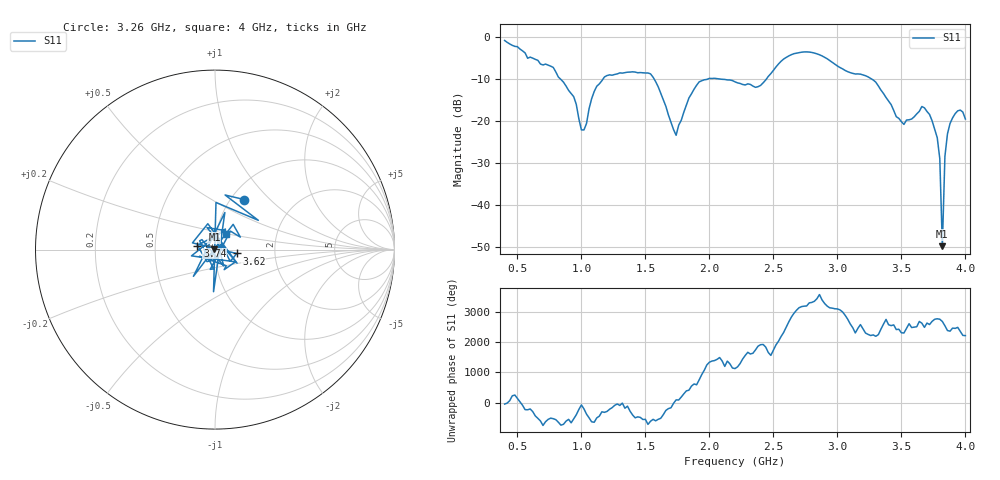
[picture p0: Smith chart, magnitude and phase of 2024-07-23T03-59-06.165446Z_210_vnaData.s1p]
!Created with skrf (http://scikit-rf.org).
# Hz S RI R 50.0
!freq ReS11 ImS11
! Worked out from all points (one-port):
!   181 points, 400 MHz to 4 GHz, reference 50 ohm
!   lowest |S11| = -49.8 dB at 3.82 GHz (marker M1), VSWR 1.01, Z = 49.7 + j0.0944 ohm
!   |S11| at or under -10 dB: 1.569 GHz to 1.985 GHz (415.8 MHz wide, 23.4 % of centre); 2.091 GHz to 2.444 GHz (353.7 MHz wide, 15.6 % of centre); 3.27 GHz to end of sweep (the widest 3 of 4)
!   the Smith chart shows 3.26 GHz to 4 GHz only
!   S11 on the Smith chart (normalised r, x): 3.26 GHz: 1.15, +0.72; 3.62 GHz: 1.27, -0.06; 3.74 GHz: 0.82, +0.04; 4 GHz: 1.11, +0.20
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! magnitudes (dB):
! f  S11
! 400 MHz  -0.8
! 860 MHz  -10.7
! 940 MHz  -14.2
! 1 GHz  -22.1
! 1.02 GHz  -22.1
! 1.12 GHz  -11.7
! 1.3 GHz  -8.5
! 1.54 GHz  -8.7
! 1.74 GHz  -23.4
! 1.76 GHz  -21.0
! 1.92 GHz  -10.6
! 2.2 GHz  -10.6
! 2.38 GHz  -11.8
! 2.66 GHz  -3.9
! 3.1 GHz  -8.4
! 3.26 GHz  -9.8
! 3.46 GHz  -18.9
! 3.56 GHz  -19.7
! 3.62 GHz  -18.3
! 3.66 GHz  -16.5
! 3.74 GHz  -19.9
! 3.78 GHz  -23.9
! 3.8 GHz  -28.9
! 3.82 GHz  -49.8
! 3.84 GHz  -28.4
! 3.86 GHz  -23.0
! 3.94 GHz  -17.5
! 4 GHz  -19.5
